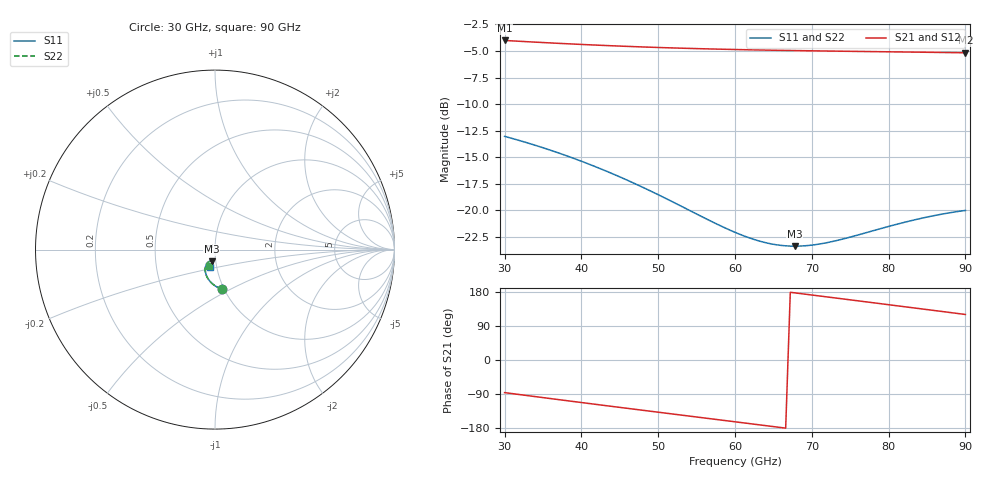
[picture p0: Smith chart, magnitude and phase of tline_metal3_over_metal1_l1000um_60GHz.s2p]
#  GHZ S DB R 50
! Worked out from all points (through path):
!   101 points, 30 GHz to 90 GHz, reference 50 ohm
!   highest |S21| = -4.01 dB at 30 GHz (marker M1); lowest = -5.2 dB at 90 GHz (marker M2)
!   group delay of S21, straight-line fit = 7.09 ps
!   lowest |S11| = -23.4 dB at 67.8 GHz (marker M3), VSWR 1.15, Z = 47.7 - j6.24 ohm
!   |S11| at or under -10 dB: start of sweep to end of sweep
!   |S22| runs from -23.4 to -13.0 dB; largest |S21 - S12| = 0
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30  -13.04 -80.2  -4.01 -86.1  -4.01 -86.1  -13.04 -80.3
32.4  -13.53 -85.9  -4.11 -92.4  -4.11 -92.4  -13.53 -86.0
34.8  -14.07 -91.4  -4.20 -98.7  -4.20 -98.7  -14.07 -91.4
37.2  -14.65 -96.6  -4.29 -105.0  -4.29 -105.0  -14.65 -96.6
40.2  -15.44 -102.6  -4.39 -112.7  -4.39 -112.7  -15.44 -102.6
42.6  -16.12 -106.9  -4.47 -118.9  -4.47 -118.9  -16.12 -107.0
45.6  -17.05 -111.7  -4.56 -126.6  -4.56 -126.6  -17.04 -111.9
50.4  -18.67 -117.5  -4.68 -138.8  -4.68 -138.8  -18.66 -117.7
55.2  -20.42 -120.0  -4.78 -150.9  -4.78 -150.9  -20.41 -120.3
57.6  -21.28 -119.6  -4.83 -157.0  -4.83 -157.0  -21.27 -120.0
60  -22.07 -118.0  -4.86 -163.1  -4.86 -163.1  -22.06 -118.5
62.4  -22.72 -115.2  -4.90 -169.1  -4.90 -169.1  -22.72 -115.8
64.2  -23.08 -112.5  -4.92 -173.7  -4.92 -173.7  -23.08 -113.2
66  -23.30 -109.4  -4.94 -178.3  -4.94 -178.3  -23.31 -110.2
67.8  -23.38 -106.3  -4.96 177.1  -4.96 177.1  -23.40 -107.2
70.2  -23.26 -102.6  -4.99 171.0  -4.99 171.0  -23.30 -103.5
72.6  -22.95 -99.8  -5.01 164.9  -5.01 164.9  -23.01 -100.8
75  -22.52 -98.1  -5.04 158.7  -5.04 158.7  -22.60 -99.1
77.4  -22.04 -97.6  -5.06 152.6  -5.06 152.6  -22.13 -98.5
80.4  -21.44 -98.3  -5.08 144.9  -5.08 144.9  -21.54 -99.2
85.2  -20.61 -101.9  -5.13 132.5  -5.13 132.5  -20.71 -102.8
90  -20.01 -107.5  -5.17 120.2  -5.17 120.2  -20.12 -108.4
